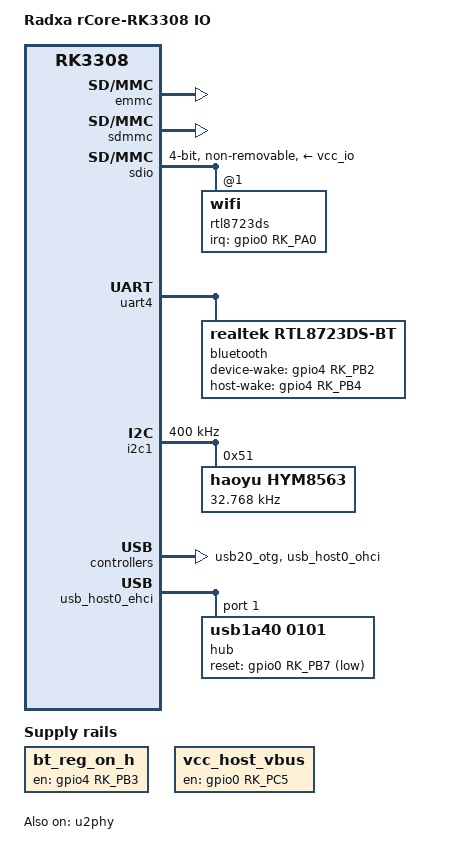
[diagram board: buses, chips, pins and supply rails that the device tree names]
// SPDX-License-Identifier: (GPL-2.0+ OR MIT)
/*
 * Copyright (c) 2018 Fuzhou Rockchip Electronics Co., Ltd
 * Copyright (c) 2026 Radxa Computer (Shenzhen) Co., Ltd.
 */

/dts-v1/;

#include "rk3308-radxa-rcore-rk3308.dtsi"

/ {
	model = "Radxa rCore-RK3308 IO";
	compatible = "radxa,rcore-rk3308-io", "radxa,rcore-rk3308", "rockchip,rk3308";

	bt_reg_on_h: bt-reg-on-regulator {
		compatible = "regulator-fixed";
		regulator-name = "bt_reg_on";
		enable-active-high;
		gpio = <&gpio4 RK_PB3 GPIO_ACTIVE_HIGH>;
		regulator-always-on;
	};

	vcc_host_vbus: vcc-host-vbus {
		compatible = "regulator-fixed";
		enable-active-high;
		gpio = <&gpio0 RK_PC5 GPIO_ACTIVE_HIGH>;
		pinctrl-names = "default";
		pinctrl-0 = <&host_vbus_drv>;
		regulator-name = "vcc_host_vbus";
	};
};

&emmc {
	status = "okay";
};

&sdmmc {
	status = "okay";
};

&sdio {
	/delete-property/ sd-uhs-sdr104;

	#address-cells = <1>;
	#size-cells = <0>;
	max-frequency = <150000000>;
	bus-width = <4>;
	cap-sd-highspeed;
	cap-sdio-irq;
	keep-power-in-suspend;
	mmc-pwrseq = <&sdio_pwrseq>;
	non-removable;
	sd-uhs-sdr50;
	vmmc-supply = <&vcc_io>;
	vqmmc-supply = <&vcc_1v8>;
	status = "okay";

	rtl8723ds: wifi@1 {
		reg = <1>;
		interrupt-parent = <&gpio0>;
		interrupts = <RK_PA0 IRQ_TYPE_LEVEL_HIGH>;
		interrupt-names = "host-wake";
		pinctrl-names = "default";
		pinctrl-0 = <&wifi_wake_host>;
	};
};

&uart4 {
	pinctrl-names = "default";
	pinctrl-0 = <&uart4_xfer &uart4_cts &uart4_rts>;
	uart-has-rtscts;
	status = "okay";

	bluetooth {
		compatible = "realtek,rtl8723ds-bt";
		device-wake-gpios = <&gpio4 RK_PB2 GPIO_ACTIVE_HIGH>;
		host-wake-gpios = <&gpio4 RK_PB4 GPIO_ACTIVE_HIGH>;
		pinctrl-names = "default";
		pinctrl-0 = <&bt_wake_host &host_wake_bt>;
	};
};

&u2phy {
	status = "okay";

	u2phy_host: host-port {
		phy-supply = <&vcc_host_vbus>;
		status = "okay";
	};

	u2phy_otg: otg-port {
		vbus-supply = <&vcc_host_vbus>;
		status = "okay";
	};
};

&i2c1 {
	status = "okay";
	clock-frequency = <400000>;
	#address-cells = <1>;
	#size-cells = <0>;

	hym8563: hym8563@51 {
		compatible = "haoyu,hym8563";
		reg = <0x51>;
		#clock-cells = <0>;
		clock-frequency = <32768>;
		clock-output-names = "xin32k";
		status = "okay";
	};
};

&usb20_otg {
	status = "okay";
};

&usb_host0_ehci {
	#address-cells = <1>;
	#size-cells = <0>;
	status = "okay";

	hub@1 {
		compatible = "usb1a40,0101";
		reg = <1>;
		reset-gpios = <&gpio0 RK_PB7 GPIO_ACTIVE_LOW>;
	};
};

&usb_host0_ohci {
	status = "okay";
};

&pinctrl {
	bluetooth {
		bt_wake_host: bt-wake-host {
			rockchip,pins = <4 RK_PB4 RK_FUNC_GPIO &pcfg_pull_down>;
		};

		host_wake_bt: host-wake-bt {
			rockchip,pins = <4 RK_PB2 RK_FUNC_GPIO &pcfg_pull_none>;
		};
	};

	usb {
		host_vbus_drv: host-vbus-drv {
			rockchip,pins = <0 RK_PC5 RK_FUNC_GPIO &pcfg_pull_none>;
		};
	};
};
